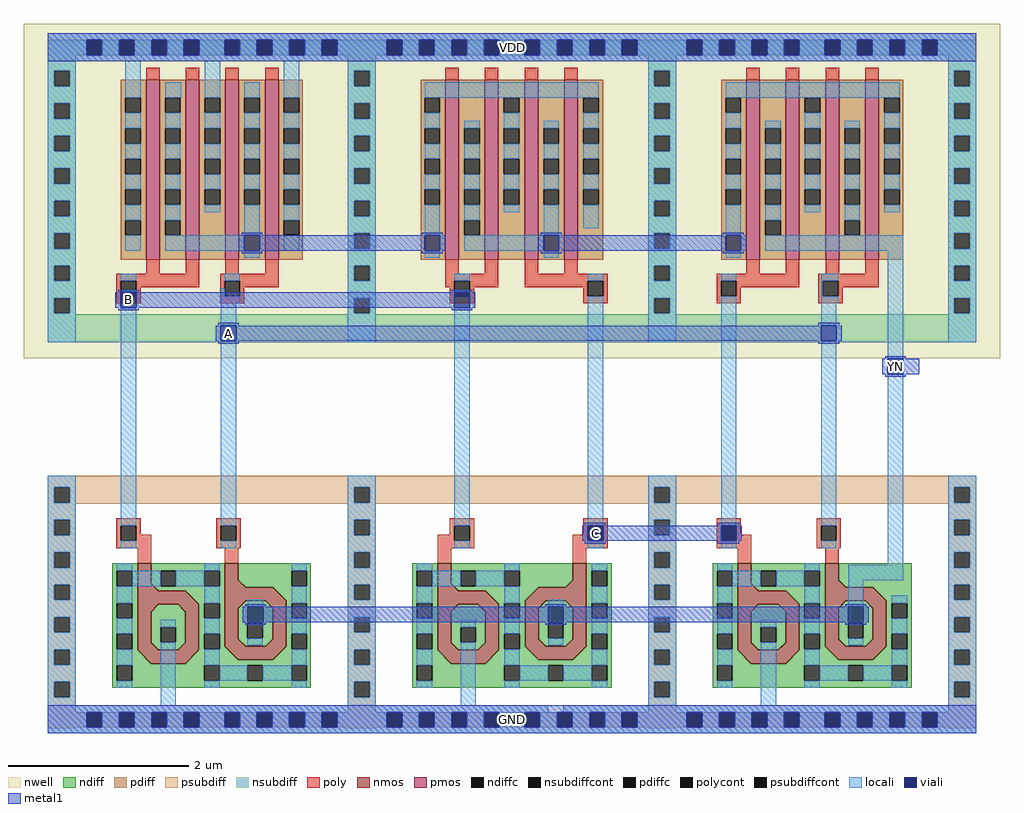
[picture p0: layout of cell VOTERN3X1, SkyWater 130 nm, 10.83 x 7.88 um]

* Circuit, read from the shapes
.subckt VOTERN3X1 YN A B C VDD GND
XM1 n1 B GND GND sky130_fd_pr__nfet_01v8 w=2.6 l=0.1494
XM2 n1 A YN GND sky130_fd_pr__nfet_01v8 w=2.56 l=0.1464
XM3 n2 B GND GND sky130_fd_pr__nfet_01v8 w=2.6 l=0.1478
XM4 n2 C YN GND sky130_fd_pr__nfet_01v8 w=2.56 l=0.145
XM5 n3 C GND GND sky130_fd_pr__nfet_01v8 w=2.6 l=0.149
XM6 n3 A YN GND sky130_fd_pr__nfet_01v8 w=2.56 l=0.1461
XM7 n4 B VDD VDD sky130_fd_pr__pfet_01v8 w=2 l=0.15 m=2
XM8 n4 A VDD VDD sky130_fd_pr__pfet_01v8 w=2 l=0.15 m=2
XM9 n5 B n4 VDD sky130_fd_pr__pfet_01v8 w=2 l=0.15 m=2
XM10 n5 C n4 VDD sky130_fd_pr__pfet_01v8 w=2 l=0.15 m=2
XM11 YN C n5 VDD sky130_fd_pr__pfet_01v8 w=2 l=0.15 m=2
XM12 YN A n5 VDD sky130_fd_pr__pfet_01v8 w=2 l=0.15 m=2
.ends

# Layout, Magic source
magic
tech sky130A
magscale 1 2
<< nwell >>
rect -84 832 2082 1575
<< nmos >>
rect 168 316 198 377
tri 198 316 214 332 sw
rect 362 324 392 377
tri 392 324 408 340 sw
rect 168 286 274 316
tri 274 286 304 316 sw
rect 362 294 468 324
tri 468 294 498 324 sw
rect 168 185 198 286
tri 198 270 214 286 nw
tri 258 270 274 286 ne
tri 198 185 214 201 sw
tri 258 185 274 201 se
rect 274 185 304 286
rect 362 193 392 294
tri 392 278 408 294 nw
tri 452 278 468 294 ne
tri 392 193 408 209 sw
tri 452 193 468 209 se
rect 468 193 498 294
tri 168 155 198 185 ne
rect 198 155 274 185
tri 274 155 304 185 nw
tri 362 163 392 193 ne
rect 392 163 468 193
tri 468 163 498 193 nw
rect 834 316 864 377
tri 864 316 880 332 sw
tri 1118 324 1134 340 se
rect 1134 324 1164 377
rect 834 286 940 316
tri 940 286 970 316 sw
tri 1028 294 1058 324 se
rect 1058 294 1164 324
rect 834 185 864 286
tri 864 270 880 286 nw
tri 924 270 940 286 ne
tri 864 185 880 201 sw
tri 924 185 940 201 se
rect 940 185 970 286
rect 1028 193 1058 294
tri 1058 278 1074 294 nw
tri 1118 278 1134 294 ne
tri 1058 193 1074 209 sw
tri 1118 193 1134 209 se
rect 1134 193 1164 294
tri 834 155 864 185 ne
rect 864 155 940 185
tri 940 155 970 185 nw
tri 1028 163 1058 193 ne
rect 1058 163 1134 193
tri 1134 163 1164 193 nw
rect 1500 316 1530 377
tri 1530 316 1546 332 sw
rect 1694 324 1724 377
tri 1724 324 1740 340 sw
rect 1500 286 1606 316
tri 1606 286 1636 316 sw
rect 1694 294 1800 324
tri 1800 294 1830 324 sw
rect 1500 185 1530 286
tri 1530 270 1546 286 nw
tri 1590 270 1606 286 ne
tri 1530 185 1546 201 sw
tri 1590 185 1606 201 se
rect 1606 185 1636 286
rect 1694 279 1725 294
tri 1725 279 1740 294 nw
tri 1784 279 1799 294 ne
rect 1799 279 1830 294
rect 1694 193 1724 279
tri 1724 193 1740 209 sw
tri 1784 193 1800 209 se
rect 1800 193 1830 279
tri 1500 155 1530 185 ne
rect 1530 155 1606 185
tri 1606 155 1636 185 nw
tri 1694 163 1724 193 ne
rect 1724 163 1800 193
tri 1800 163 1830 193 nw
<< pmos >>
rect 187 1051 217 1451
rect 275 1051 305 1451
rect 363 1051 393 1451
rect 451 1051 481 1451
rect 851 1051 881 1451
rect 939 1051 969 1451
rect 1027 1051 1057 1451
rect 1115 1051 1145 1451
rect 1519 1051 1549 1451
rect 1607 1051 1637 1451
rect 1695 1051 1725 1451
rect 1783 1051 1813 1451
<< ndiff >>
rect 112 361 168 377
rect 112 327 122 361
rect 156 327 168 361
rect 112 289 168 327
rect 198 361 362 377
rect 198 332 219 361
tri 198 316 214 332 ne
rect 214 327 219 332
rect 253 327 316 361
rect 350 327 362 361
rect 214 316 362 327
rect 392 361 552 377
rect 392 340 510 361
tri 392 324 408 340 ne
rect 408 327 510 340
rect 544 327 552 361
rect 408 324 552 327
rect 112 255 122 289
rect 156 255 168 289
tri 274 286 304 316 ne
rect 304 289 362 316
tri 468 294 498 324 ne
rect 112 221 168 255
rect 112 187 122 221
rect 156 187 168 221
rect 112 155 168 187
tri 198 270 214 286 se
rect 214 270 258 286
tri 258 270 274 286 sw
rect 198 236 274 270
rect 198 202 219 236
rect 253 202 274 236
rect 198 201 274 202
tri 198 185 214 201 ne
rect 214 185 258 201
tri 258 185 274 201 nw
rect 304 255 316 289
rect 350 255 362 289
rect 304 221 362 255
rect 304 187 316 221
rect 350 187 362 221
tri 392 278 408 294 se
rect 408 278 452 294
tri 452 278 468 294 sw
rect 392 245 468 278
rect 392 211 412 245
rect 446 211 468 245
rect 392 209 468 211
tri 392 193 408 209 ne
rect 408 193 452 209
tri 452 193 468 209 nw
rect 498 289 552 324
rect 498 255 510 289
rect 544 255 552 289
rect 498 221 552 255
tri 168 155 198 185 sw
tri 274 155 304 185 se
rect 304 163 362 187
tri 362 163 392 193 sw
tri 468 163 498 193 se
rect 498 187 510 221
rect 544 187 552 221
rect 498 163 552 187
rect 304 155 552 163
rect 112 151 552 155
rect 112 117 122 151
rect 156 117 316 151
rect 350 117 412 151
rect 446 117 510 151
rect 544 117 552 151
rect 112 101 552 117
rect 778 361 834 377
rect 778 327 788 361
rect 822 327 834 361
rect 778 289 834 327
rect 864 361 1134 377
rect 864 332 885 361
tri 864 316 880 332 ne
rect 880 327 885 332
rect 919 327 982 361
rect 1016 340 1134 361
rect 1016 327 1118 340
rect 880 324 1118 327
tri 1118 324 1134 340 nw
rect 1164 361 1220 377
rect 1164 327 1176 361
rect 1210 327 1220 361
rect 880 316 1028 324
rect 778 255 788 289
rect 822 255 834 289
tri 940 286 970 316 ne
rect 970 289 1028 316
tri 1028 294 1058 324 nw
rect 778 221 834 255
rect 778 187 788 221
rect 822 187 834 221
rect 778 155 834 187
tri 864 270 880 286 se
rect 880 270 924 286
tri 924 270 940 286 sw
rect 864 236 940 270
rect 864 202 885 236
rect 919 202 940 236
rect 864 201 940 202
tri 864 185 880 201 ne
rect 880 185 924 201
tri 924 185 940 201 nw
rect 970 255 982 289
rect 1016 255 1028 289
rect 970 221 1028 255
rect 970 187 982 221
rect 1016 187 1028 221
tri 1058 278 1074 294 se
rect 1074 278 1118 294
tri 1118 278 1134 294 sw
rect 1058 245 1134 278
rect 1058 211 1079 245
rect 1113 211 1134 245
rect 1058 209 1134 211
tri 1058 193 1074 209 ne
rect 1074 193 1118 209
tri 1118 193 1134 209 nw
rect 1164 289 1220 327
rect 1164 255 1176 289
rect 1210 255 1220 289
rect 1164 221 1220 255
tri 834 155 864 185 sw
tri 940 155 970 185 se
rect 970 163 1028 187
tri 1028 163 1058 193 sw
tri 1134 163 1164 193 se
rect 1164 187 1176 221
rect 1210 187 1220 221
rect 1164 163 1220 187
rect 970 155 1220 163
rect 778 151 1220 155
rect 778 117 788 151
rect 822 117 982 151
rect 1016 117 1079 151
rect 1113 117 1176 151
rect 1210 117 1220 151
rect 778 101 1220 117
rect 1444 361 1500 377
rect 1444 327 1454 361
rect 1488 327 1500 361
rect 1444 289 1500 327
rect 1530 361 1694 377
rect 1530 332 1551 361
tri 1530 316 1546 332 ne
rect 1546 327 1551 332
rect 1585 327 1648 361
rect 1682 327 1694 361
rect 1546 316 1694 327
rect 1724 340 1886 377
tri 1724 324 1740 340 ne
rect 1740 324 1886 340
rect 1444 255 1454 289
rect 1488 255 1500 289
tri 1606 286 1636 316 ne
rect 1636 289 1694 316
tri 1800 294 1830 324 ne
rect 1444 221 1500 255
rect 1444 187 1454 221
rect 1488 187 1500 221
rect 1444 155 1500 187
tri 1530 270 1546 286 se
rect 1546 270 1590 286
tri 1590 270 1606 286 sw
rect 1530 236 1606 270
rect 1530 202 1551 236
rect 1585 202 1606 236
rect 1530 201 1606 202
tri 1530 185 1546 201 ne
rect 1546 185 1590 201
tri 1590 185 1606 201 nw
rect 1636 255 1648 289
rect 1682 255 1694 289
tri 1725 279 1740 294 se
rect 1740 279 1784 294
tri 1784 279 1799 294 sw
rect 1830 289 1886 324
rect 1636 221 1694 255
rect 1636 187 1648 221
rect 1682 187 1694 221
rect 1724 245 1800 279
rect 1724 211 1745 245
rect 1779 211 1800 245
rect 1724 209 1800 211
tri 1724 193 1740 209 ne
rect 1740 193 1784 209
tri 1784 193 1800 209 nw
rect 1830 255 1842 289
rect 1876 255 1886 289
rect 1830 221 1886 255
tri 1500 155 1530 185 sw
tri 1606 155 1636 185 se
rect 1636 163 1694 187
tri 1694 163 1724 193 sw
tri 1800 163 1830 193 se
rect 1830 187 1842 221
rect 1876 187 1886 221
rect 1830 163 1886 187
rect 1636 155 1886 163
rect 1444 151 1886 155
rect 1444 117 1454 151
rect 1488 117 1648 151
rect 1682 117 1745 151
rect 1779 117 1842 151
rect 1876 117 1886 151
rect 1444 101 1886 117
<< pdiff >>
rect 131 1411 187 1451
rect 131 1377 141 1411
rect 175 1377 187 1411
rect 131 1343 187 1377
rect 131 1309 141 1343
rect 175 1309 187 1343
rect 131 1275 187 1309
rect 131 1241 141 1275
rect 175 1241 187 1275
rect 131 1207 187 1241
rect 131 1173 141 1207
rect 175 1173 187 1207
rect 131 1139 187 1173
rect 131 1105 141 1139
rect 175 1105 187 1139
rect 131 1051 187 1105
rect 217 1411 275 1451
rect 217 1377 229 1411
rect 263 1377 275 1411
rect 217 1343 275 1377
rect 217 1309 229 1343
rect 263 1309 275 1343
rect 217 1275 275 1309
rect 217 1241 229 1275
rect 263 1241 275 1275
rect 217 1207 275 1241
rect 217 1173 229 1207
rect 263 1173 275 1207
rect 217 1139 275 1173
rect 217 1105 229 1139
rect 263 1105 275 1139
rect 217 1051 275 1105
rect 305 1411 363 1451
rect 305 1377 317 1411
rect 351 1377 363 1411
rect 305 1343 363 1377
rect 305 1309 317 1343
rect 351 1309 363 1343
rect 305 1275 363 1309
rect 305 1241 317 1275
rect 351 1241 363 1275
rect 305 1207 363 1241
rect 305 1173 317 1207
rect 351 1173 363 1207
rect 305 1051 363 1173
rect 393 1411 451 1451
rect 393 1377 405 1411
rect 439 1377 451 1411
rect 393 1343 451 1377
rect 393 1309 405 1343
rect 439 1309 451 1343
rect 393 1275 451 1309
rect 393 1241 405 1275
rect 439 1241 451 1275
rect 393 1207 451 1241
rect 393 1173 405 1207
rect 439 1173 451 1207
rect 393 1051 451 1173
rect 481 1411 535 1451
rect 481 1377 493 1411
rect 527 1377 535 1411
rect 481 1343 535 1377
rect 481 1309 493 1343
rect 527 1309 535 1343
rect 481 1275 535 1309
rect 481 1241 493 1275
rect 527 1241 535 1275
rect 481 1207 535 1241
rect 481 1173 493 1207
rect 527 1173 535 1207
rect 481 1139 535 1173
rect 481 1105 493 1139
rect 527 1105 535 1139
rect 481 1051 535 1105
rect 797 1411 851 1451
rect 797 1377 805 1411
rect 839 1377 851 1411
rect 797 1343 851 1377
rect 797 1309 805 1343
rect 839 1309 851 1343
rect 797 1275 851 1309
rect 797 1241 805 1275
rect 839 1241 851 1275
rect 797 1207 851 1241
rect 797 1173 805 1207
rect 839 1173 851 1207
rect 797 1051 851 1173
rect 881 1343 939 1451
rect 881 1309 893 1343
rect 927 1309 939 1343
rect 881 1275 939 1309
rect 881 1241 893 1275
rect 927 1241 939 1275
rect 881 1207 939 1241
rect 881 1173 893 1207
rect 927 1173 939 1207
rect 881 1139 939 1173
rect 881 1105 893 1139
rect 927 1105 939 1139
rect 881 1051 939 1105
rect 969 1411 1027 1451
rect 969 1377 981 1411
rect 1015 1377 1027 1411
rect 969 1343 1027 1377
rect 969 1309 981 1343
rect 1015 1309 1027 1343
rect 969 1275 1027 1309
rect 969 1241 981 1275
rect 1015 1241 1027 1275
rect 969 1207 1027 1241
rect 969 1173 981 1207
rect 1015 1173 1027 1207
rect 969 1051 1027 1173
rect 1057 1343 1115 1451
rect 1057 1309 1069 1343
rect 1103 1309 1115 1343
rect 1057 1275 1115 1309
rect 1057 1241 1069 1275
rect 1103 1241 1115 1275
rect 1057 1207 1115 1241
rect 1057 1173 1069 1207
rect 1103 1173 1115 1207
rect 1057 1051 1115 1173
rect 1145 1411 1201 1451
rect 1145 1377 1157 1411
rect 1191 1377 1201 1411
rect 1145 1343 1201 1377
rect 1145 1309 1157 1343
rect 1191 1309 1201 1343
rect 1145 1275 1201 1309
rect 1145 1241 1157 1275
rect 1191 1241 1201 1275
rect 1145 1207 1201 1241
rect 1145 1173 1157 1207
rect 1191 1173 1201 1207
rect 1145 1051 1201 1173
rect 1463 1411 1519 1451
rect 1463 1377 1473 1411
rect 1507 1377 1519 1411
rect 1463 1343 1519 1377
rect 1463 1309 1473 1343
rect 1507 1309 1519 1343
rect 1463 1275 1519 1309
rect 1463 1241 1473 1275
rect 1507 1241 1519 1275
rect 1463 1207 1519 1241
rect 1463 1173 1473 1207
rect 1507 1173 1519 1207
rect 1463 1051 1519 1173
rect 1549 1343 1607 1451
rect 1549 1309 1561 1343
rect 1595 1309 1607 1343
rect 1549 1275 1607 1309
rect 1549 1241 1561 1275
rect 1595 1241 1607 1275
rect 1549 1207 1607 1241
rect 1549 1173 1561 1207
rect 1595 1173 1607 1207
rect 1549 1139 1607 1173
rect 1549 1105 1561 1139
rect 1595 1105 1607 1139
rect 1549 1051 1607 1105
rect 1637 1411 1695 1451
rect 1637 1377 1649 1411
rect 1683 1377 1695 1411
rect 1637 1343 1695 1377
rect 1637 1309 1649 1343
rect 1683 1309 1695 1343
rect 1637 1275 1695 1309
rect 1637 1241 1649 1275
rect 1683 1241 1695 1275
rect 1637 1207 1695 1241
rect 1637 1173 1649 1207
rect 1683 1173 1695 1207
rect 1637 1051 1695 1173
rect 1725 1343 1783 1451
rect 1725 1309 1737 1343
rect 1771 1309 1783 1343
rect 1725 1275 1783 1309
rect 1725 1241 1737 1275
rect 1771 1241 1783 1275
rect 1725 1207 1783 1241
rect 1725 1173 1737 1207
rect 1771 1173 1783 1207
rect 1725 1139 1783 1173
rect 1725 1105 1737 1139
rect 1771 1105 1783 1139
rect 1725 1051 1783 1105
rect 1813 1411 1867 1451
rect 1813 1377 1825 1411
rect 1859 1377 1867 1411
rect 1813 1343 1867 1377
rect 1813 1309 1825 1343
rect 1859 1309 1867 1343
rect 1813 1275 1867 1309
rect 1813 1241 1825 1275
rect 1859 1241 1867 1275
rect 1813 1207 1867 1241
rect 1813 1173 1825 1207
rect 1859 1173 1867 1207
rect 1813 1051 1867 1173
<< ndiffc >>
rect 122 327 156 361
rect 219 327 253 361
rect 316 327 350 361
rect 510 327 544 361
rect 122 255 156 289
rect 122 187 156 221
rect 219 202 253 236
rect 316 255 350 289
rect 316 187 350 221
rect 412 211 446 245
rect 510 255 544 289
rect 510 187 544 221
rect 122 117 156 151
rect 316 117 350 151
rect 412 117 446 151
rect 510 117 544 151
rect 788 327 822 361
rect 885 327 919 361
rect 982 327 1016 361
rect 1176 327 1210 361
rect 788 255 822 289
rect 788 187 822 221
rect 885 202 919 236
rect 982 255 1016 289
rect 982 187 1016 221
rect 1079 211 1113 245
rect 1176 255 1210 289
rect 1176 187 1210 221
rect 788 117 822 151
rect 982 117 1016 151
rect 1079 117 1113 151
rect 1176 117 1210 151
rect 1454 327 1488 361
rect 1551 327 1585 361
rect 1648 327 1682 361
rect 1454 255 1488 289
rect 1454 187 1488 221
rect 1551 202 1585 236
rect 1648 255 1682 289
rect 1648 187 1682 221
rect 1745 211 1779 245
rect 1842 255 1876 289
rect 1842 187 1876 221
rect 1454 117 1488 151
rect 1648 117 1682 151
rect 1745 117 1779 151
rect 1842 117 1876 151
<< pdiffc >>
rect 141 1377 175 1411
rect 141 1309 175 1343
rect 141 1241 175 1275
rect 141 1173 175 1207
rect 141 1105 175 1139
rect 229 1377 263 1411
rect 229 1309 263 1343
rect 229 1241 263 1275
rect 229 1173 263 1207
rect 229 1105 263 1139
rect 317 1377 351 1411
rect 317 1309 351 1343
rect 317 1241 351 1275
rect 317 1173 351 1207
rect 405 1377 439 1411
rect 405 1309 439 1343
rect 405 1241 439 1275
rect 405 1173 439 1207
rect 493 1377 527 1411
rect 493 1309 527 1343
rect 493 1241 527 1275
rect 493 1173 527 1207
rect 493 1105 527 1139
rect 805 1377 839 1411
rect 805 1309 839 1343
rect 805 1241 839 1275
rect 805 1173 839 1207
rect 893 1309 927 1343
rect 893 1241 927 1275
rect 893 1173 927 1207
rect 893 1105 927 1139
rect 981 1377 1015 1411
rect 981 1309 1015 1343
rect 981 1241 1015 1275
rect 981 1173 1015 1207
rect 1069 1309 1103 1343
rect 1069 1241 1103 1275
rect 1069 1173 1103 1207
rect 1157 1377 1191 1411
rect 1157 1309 1191 1343
rect 1157 1241 1191 1275
rect 1157 1173 1191 1207
rect 1473 1377 1507 1411
rect 1473 1309 1507 1343
rect 1473 1241 1507 1275
rect 1473 1173 1507 1207
rect 1561 1309 1595 1343
rect 1561 1241 1595 1275
rect 1561 1173 1595 1207
rect 1561 1105 1595 1139
rect 1649 1377 1683 1411
rect 1649 1309 1683 1343
rect 1649 1241 1683 1275
rect 1649 1173 1683 1207
rect 1737 1309 1771 1343
rect 1737 1241 1771 1275
rect 1737 1173 1771 1207
rect 1737 1105 1771 1139
rect 1825 1377 1859 1411
rect 1825 1309 1859 1343
rect 1825 1241 1859 1275
rect 1825 1173 1859 1207
<< psubdiff >>
rect -31 546 2029 572
rect -31 512 -17 546
rect 17 512 649 546
rect 683 512 1315 546
rect 1349 512 1981 546
rect 2015 512 2029 546
rect -31 510 2029 512
rect -31 474 31 510
rect -31 440 -17 474
rect 17 440 31 474
rect -31 402 31 440
rect 635 474 697 510
rect 635 440 649 474
rect 683 440 697 474
rect -31 368 -17 402
rect 17 368 31 402
rect 635 402 697 440
rect -31 330 31 368
rect -31 296 -17 330
rect 17 296 31 330
rect -31 258 31 296
rect -31 224 -17 258
rect 17 224 31 258
rect -31 186 31 224
rect -31 152 -17 186
rect 17 152 31 186
rect -31 114 31 152
rect -31 80 -17 114
rect 17 80 31 114
rect 635 368 649 402
rect 683 368 697 402
rect 1301 474 1363 510
rect 1301 440 1315 474
rect 1349 440 1363 474
rect 1301 402 1363 440
rect 1967 474 2029 510
rect 1967 440 1981 474
rect 2015 440 2029 474
rect 635 330 697 368
rect 635 296 649 330
rect 683 296 697 330
rect 635 258 697 296
rect 635 224 649 258
rect 683 224 697 258
rect 635 186 697 224
rect 635 152 649 186
rect 683 152 697 186
rect 635 114 697 152
rect -31 47 31 80
rect 635 80 649 114
rect 683 80 697 114
rect 1301 368 1315 402
rect 1349 368 1363 402
rect 1967 402 2029 440
rect 1301 330 1363 368
rect 1301 296 1315 330
rect 1349 296 1363 330
rect 1301 258 1363 296
rect 1301 224 1315 258
rect 1349 224 1363 258
rect 1301 186 1363 224
rect 1301 152 1315 186
rect 1349 152 1363 186
rect 1301 114 1363 152
rect 635 47 697 80
rect 1301 80 1315 114
rect 1349 80 1363 114
rect 1967 368 1981 402
rect 2015 368 2029 402
rect 1967 330 2029 368
rect 1967 296 1981 330
rect 2015 296 2029 330
rect 1967 258 2029 296
rect 1967 224 1981 258
rect 2015 224 2029 258
rect 1967 186 2029 224
rect 1967 152 1981 186
rect 2015 152 2029 186
rect 1967 114 2029 152
rect 1301 47 1363 80
rect 1967 80 1981 114
rect 2015 80 2029 114
rect 1967 47 2029 80
rect -31 13 55 47
rect 89 13 127 47
rect 161 13 199 47
rect 233 13 271 47
rect 305 13 361 47
rect 395 13 433 47
rect 467 13 505 47
rect 539 13 577 47
rect 611 13 721 47
rect 755 13 793 47
rect 827 13 865 47
rect 899 13 937 47
rect 971 13 1027 47
rect 1061 13 1099 47
rect 1133 13 1171 47
rect 1205 13 1243 47
rect 1277 13 1387 47
rect 1421 13 1459 47
rect 1493 13 1531 47
rect 1565 13 1603 47
rect 1637 13 1693 47
rect 1727 13 1765 47
rect 1799 13 1837 47
rect 1871 13 1909 47
rect 1943 13 2029 47
rect -31 11 31 13
rect 635 11 697 13
rect 1301 11 1363 13
rect 1967 11 2029 13
<< nsubdiff >>
rect -31 1505 55 1539
rect 89 1505 127 1539
rect 161 1505 199 1539
rect 233 1505 271 1539
rect 305 1505 361 1539
rect 395 1505 433 1539
rect 467 1505 505 1539
rect 539 1505 577 1539
rect 611 1505 721 1539
rect 755 1505 793 1539
rect 827 1505 865 1539
rect 899 1505 937 1539
rect 971 1505 1027 1539
rect 1061 1505 1099 1539
rect 1133 1505 1171 1539
rect 1205 1505 1243 1539
rect 1277 1505 1387 1539
rect 1421 1505 1459 1539
rect 1493 1505 1531 1539
rect 1565 1505 1603 1539
rect 1637 1505 1693 1539
rect 1727 1505 1765 1539
rect 1799 1505 1837 1539
rect 1871 1505 1909 1539
rect 1943 1505 2029 1539
rect -31 1470 31 1505
rect -31 1436 -17 1470
rect 17 1436 31 1470
rect 635 1470 697 1505
rect -31 1398 31 1436
rect -31 1364 -17 1398
rect 17 1364 31 1398
rect -31 1326 31 1364
rect -31 1292 -17 1326
rect 17 1292 31 1326
rect -31 1254 31 1292
rect -31 1220 -17 1254
rect 17 1220 31 1254
rect -31 1182 31 1220
rect -31 1148 -17 1182
rect 17 1148 31 1182
rect -31 1110 31 1148
rect -31 1076 -17 1110
rect 17 1076 31 1110
rect -31 1038 31 1076
rect 635 1436 649 1470
rect 683 1436 697 1470
rect 1301 1470 1363 1505
rect 635 1398 697 1436
rect 635 1364 649 1398
rect 683 1364 697 1398
rect 635 1326 697 1364
rect 635 1292 649 1326
rect 683 1292 697 1326
rect 635 1254 697 1292
rect 635 1220 649 1254
rect 683 1220 697 1254
rect 635 1182 697 1220
rect 635 1148 649 1182
rect 683 1148 697 1182
rect 635 1110 697 1148
rect 635 1076 649 1110
rect 683 1076 697 1110
rect -31 1004 -17 1038
rect 17 1004 31 1038
rect -31 966 31 1004
rect -31 932 -17 966
rect 17 932 31 966
rect 635 1038 697 1076
rect 1301 1436 1315 1470
rect 1349 1436 1363 1470
rect 1967 1470 2029 1505
rect 1301 1398 1363 1436
rect 1301 1364 1315 1398
rect 1349 1364 1363 1398
rect 1301 1326 1363 1364
rect 1301 1292 1315 1326
rect 1349 1292 1363 1326
rect 1301 1254 1363 1292
rect 1301 1220 1315 1254
rect 1349 1220 1363 1254
rect 1301 1182 1363 1220
rect 1301 1148 1315 1182
rect 1349 1148 1363 1182
rect 1301 1110 1363 1148
rect 1301 1076 1315 1110
rect 1349 1076 1363 1110
rect 635 1004 649 1038
rect 683 1004 697 1038
rect 635 966 697 1004
rect -31 930 31 932
rect 635 932 649 966
rect 683 932 697 966
rect 1301 1038 1363 1076
rect 1967 1436 1981 1470
rect 2015 1436 2029 1470
rect 1967 1398 2029 1436
rect 1967 1364 1981 1398
rect 2015 1364 2029 1398
rect 1967 1326 2029 1364
rect 1967 1292 1981 1326
rect 2015 1292 2029 1326
rect 1967 1254 2029 1292
rect 1967 1220 1981 1254
rect 2015 1220 2029 1254
rect 1967 1182 2029 1220
rect 1967 1148 1981 1182
rect 2015 1148 2029 1182
rect 1967 1110 2029 1148
rect 1967 1076 1981 1110
rect 2015 1076 2029 1110
rect 1301 1004 1315 1038
rect 1349 1004 1363 1038
rect 1301 966 1363 1004
rect 635 930 697 932
rect 1301 932 1315 966
rect 1349 932 1363 966
rect 1967 1038 2029 1076
rect 1967 1004 1981 1038
rect 2015 1004 2029 1038
rect 1967 966 2029 1004
rect 1301 930 1363 932
rect 1967 932 1981 966
rect 2015 932 2029 966
rect 1967 930 2029 932
rect -31 868 2029 930
<< psubdiffcont >>
rect -17 512 17 546
rect 649 512 683 546
rect 1315 512 1349 546
rect 1981 512 2015 546
rect -17 440 17 474
rect 649 440 683 474
rect -17 368 17 402
rect -17 296 17 330
rect -17 224 17 258
rect -17 152 17 186
rect -17 80 17 114
rect 649 368 683 402
rect 1315 440 1349 474
rect 1981 440 2015 474
rect 649 296 683 330
rect 649 224 683 258
rect 649 152 683 186
rect 649 80 683 114
rect 1315 368 1349 402
rect 1315 296 1349 330
rect 1315 224 1349 258
rect 1315 152 1349 186
rect 1315 80 1349 114
rect 1981 368 2015 402
rect 1981 296 2015 330
rect 1981 224 2015 258
rect 1981 152 2015 186
rect 1981 80 2015 114
rect 55 13 89 47
rect 127 13 161 47
rect 199 13 233 47
rect 271 13 305 47
rect 361 13 395 47
rect 433 13 467 47
rect 505 13 539 47
rect 577 13 611 47
rect 721 13 755 47
rect 793 13 827 47
rect 865 13 899 47
rect 937 13 971 47
rect 1027 13 1061 47
rect 1099 13 1133 47
rect 1171 13 1205 47
rect 1243 13 1277 47
rect 1387 13 1421 47
rect 1459 13 1493 47
rect 1531 13 1565 47
rect 1603 13 1637 47
rect 1693 13 1727 47
rect 1765 13 1799 47
rect 1837 13 1871 47
rect 1909 13 1943 47
<< nsubdiffcont >>
rect 55 1505 89 1539
rect 127 1505 161 1539
rect 199 1505 233 1539
rect 271 1505 305 1539
rect 361 1505 395 1539
rect 433 1505 467 1539
rect 505 1505 539 1539
rect 577 1505 611 1539
rect 721 1505 755 1539
rect 793 1505 827 1539
rect 865 1505 899 1539
rect 937 1505 971 1539
rect 1027 1505 1061 1539
rect 1099 1505 1133 1539
rect 1171 1505 1205 1539
rect 1243 1505 1277 1539
rect 1387 1505 1421 1539
rect 1459 1505 1493 1539
rect 1531 1505 1565 1539
rect 1603 1505 1637 1539
rect 1693 1505 1727 1539
rect 1765 1505 1799 1539
rect 1837 1505 1871 1539
rect 1909 1505 1943 1539
rect -17 1436 17 1470
rect -17 1364 17 1398
rect -17 1292 17 1326
rect -17 1220 17 1254
rect -17 1148 17 1182
rect -17 1076 17 1110
rect 649 1436 683 1470
rect 649 1364 683 1398
rect 649 1292 683 1326
rect 649 1220 683 1254
rect 649 1148 683 1182
rect 649 1076 683 1110
rect -17 1004 17 1038
rect -17 932 17 966
rect 1315 1436 1349 1470
rect 1315 1364 1349 1398
rect 1315 1292 1349 1326
rect 1315 1220 1349 1254
rect 1315 1148 1349 1182
rect 1315 1076 1349 1110
rect 649 1004 683 1038
rect 649 932 683 966
rect 1981 1436 2015 1470
rect 1981 1364 2015 1398
rect 1981 1292 2015 1326
rect 1981 1220 2015 1254
rect 1981 1148 2015 1182
rect 1981 1076 2015 1110
rect 1315 1004 1349 1038
rect 1315 932 1349 966
rect 1981 1004 2015 1038
rect 1981 932 2015 966
<< poly >>
rect 187 1451 217 1477
rect 275 1451 305 1477
rect 363 1451 393 1477
rect 451 1451 481 1477
rect 851 1451 881 1477
rect 939 1451 969 1477
rect 1027 1451 1057 1477
rect 1115 1451 1145 1477
rect 187 1020 217 1051
rect 275 1020 305 1051
rect 363 1020 393 1051
rect 451 1020 481 1051
rect 121 1004 305 1020
rect 121 970 131 1004
rect 165 990 305 1004
rect 351 1004 481 1020
rect 165 970 175 990
rect 121 954 175 970
rect 351 970 361 1004
rect 395 990 481 1004
rect 1519 1451 1549 1477
rect 1607 1451 1637 1477
rect 1695 1451 1725 1477
rect 1783 1451 1813 1477
rect 395 970 405 990
rect 351 954 405 970
rect 851 1020 881 1051
rect 939 1020 969 1051
rect 851 1004 969 1020
rect 851 990 871 1004
rect 861 970 871 990
rect 905 990 969 1004
rect 1027 1020 1057 1051
rect 1115 1020 1145 1051
rect 1027 1004 1211 1020
rect 1027 990 1167 1004
rect 905 970 915 990
rect 861 954 915 970
rect 1157 970 1167 990
rect 1201 970 1211 1004
rect 1157 954 1211 970
rect 1519 1020 1549 1051
rect 1607 1020 1637 1051
rect 1695 1020 1725 1051
rect 1783 1020 1813 1051
rect 1453 1004 1637 1020
rect 1453 970 1463 1004
rect 1497 990 1637 1004
rect 1679 1004 1813 1020
rect 1497 970 1507 990
rect 1453 954 1507 970
rect 1679 970 1689 1004
rect 1723 990 1813 1004
rect 1723 970 1733 990
rect 1679 954 1733 970
rect 121 461 175 477
rect 121 427 131 461
rect 165 441 175 461
rect 343 461 397 477
rect 165 427 198 441
rect 121 411 198 427
rect 343 427 353 461
rect 387 427 397 461
rect 343 411 397 427
rect 861 461 915 477
rect 861 441 871 461
rect 168 377 198 411
rect 362 377 392 411
rect 834 427 871 441
rect 905 427 915 461
rect 1157 461 1211 477
rect 1157 441 1167 461
rect 834 411 915 427
rect 1134 427 1167 441
rect 1201 427 1211 461
rect 1134 411 1211 427
rect 834 377 864 411
rect 1134 377 1164 411
rect 1453 461 1507 477
rect 1453 427 1463 461
rect 1497 441 1507 461
rect 1675 461 1729 477
rect 1497 427 1530 441
rect 1453 411 1530 427
rect 1675 427 1685 461
rect 1719 427 1729 461
rect 1675 411 1729 427
rect 1500 377 1530 411
rect 1694 377 1724 411
<< polycont >>
rect 131 970 165 1004
rect 361 970 395 1004
rect 871 970 905 1004
rect 1167 970 1201 1004
rect 1463 970 1497 1004
rect 1689 970 1723 1004
rect 131 427 165 461
rect 353 427 387 461
rect 871 427 905 461
rect 1167 427 1201 461
rect 1463 427 1497 461
rect 1685 427 1719 461
<< locali >>
rect -31 1539 2029 1554
rect -31 1505 55 1539
rect 89 1505 127 1539
rect 161 1505 199 1539
rect 233 1505 271 1539
rect 305 1505 361 1539
rect 395 1505 433 1539
rect 467 1505 505 1539
rect 539 1505 577 1539
rect 611 1505 721 1539
rect 755 1505 793 1539
rect 827 1505 865 1539
rect 899 1505 937 1539
rect 971 1505 1027 1539
rect 1061 1505 1099 1539
rect 1133 1505 1171 1539
rect 1205 1505 1243 1539
rect 1277 1505 1387 1539
rect 1421 1505 1459 1539
rect 1493 1505 1531 1539
rect 1565 1505 1603 1539
rect 1637 1505 1693 1539
rect 1727 1505 1765 1539
rect 1799 1505 1837 1539
rect 1871 1505 1909 1539
rect 1943 1505 2029 1539
rect -31 1492 2029 1505
rect -31 1470 31 1492
rect -31 1436 -17 1470
rect 17 1436 31 1470
rect -31 1398 31 1436
rect -31 1364 -17 1398
rect 17 1364 31 1398
rect -31 1326 31 1364
rect -31 1292 -17 1326
rect 17 1292 31 1326
rect -31 1254 31 1292
rect -31 1220 -17 1254
rect 17 1220 31 1254
rect -31 1182 31 1220
rect -31 1148 -17 1182
rect 17 1148 31 1182
rect -31 1110 31 1148
rect -31 1076 -17 1110
rect 17 1076 31 1110
rect -31 1038 31 1076
rect 141 1411 175 1492
rect 141 1343 175 1377
rect 141 1275 175 1309
rect 141 1207 175 1241
rect 141 1139 175 1173
rect 141 1071 175 1105
rect 229 1411 265 1445
rect 317 1411 351 1492
rect 229 1343 263 1377
rect 229 1275 263 1309
rect 229 1207 263 1241
rect 229 1139 263 1173
rect 317 1343 351 1377
rect 317 1275 351 1309
rect 317 1207 351 1241
rect 317 1157 351 1173
rect 405 1411 439 1445
rect 405 1343 439 1377
rect 405 1275 439 1309
rect 405 1207 439 1241
rect 405 1105 439 1173
rect 229 1071 405 1105
rect 493 1411 527 1492
rect 493 1343 527 1377
rect 493 1275 527 1309
rect 493 1207 527 1241
rect 493 1139 527 1173
rect 493 1071 527 1105
rect 635 1470 697 1492
rect 635 1436 649 1470
rect 683 1436 697 1470
rect 1301 1470 1363 1492
rect 635 1398 697 1436
rect 635 1364 649 1398
rect 683 1364 697 1398
rect 635 1326 697 1364
rect 635 1292 649 1326
rect 683 1292 697 1326
rect 635 1254 697 1292
rect 635 1220 649 1254
rect 683 1220 697 1254
rect 635 1182 697 1220
rect 635 1148 649 1182
rect 683 1148 697 1182
rect 635 1110 697 1148
rect 635 1076 649 1110
rect 683 1076 697 1110
rect 405 1055 439 1071
rect -31 1004 -17 1038
rect 17 1004 31 1038
rect 635 1038 697 1076
rect 805 1411 1191 1445
rect 805 1343 839 1377
rect 805 1275 839 1309
rect 805 1207 839 1241
rect 805 1105 839 1173
rect 893 1343 927 1359
rect 893 1275 927 1309
rect 893 1207 927 1241
rect 893 1139 927 1173
rect 981 1343 1015 1377
rect 981 1275 1015 1309
rect 981 1207 1015 1241
rect 981 1157 1015 1173
rect 1069 1343 1103 1359
rect 1069 1275 1103 1309
rect 1069 1207 1103 1241
rect 1069 1105 1103 1173
rect 1157 1343 1191 1377
rect 1157 1275 1191 1309
rect 1157 1207 1191 1241
rect 1157 1121 1191 1173
rect 1301 1436 1315 1470
rect 1349 1436 1363 1470
rect 1967 1470 2029 1492
rect 1301 1398 1363 1436
rect 1301 1364 1315 1398
rect 1349 1364 1363 1398
rect 1301 1326 1363 1364
rect 1301 1292 1315 1326
rect 1349 1292 1363 1326
rect 1301 1254 1363 1292
rect 1301 1220 1315 1254
rect 1349 1220 1363 1254
rect 1301 1182 1363 1220
rect 1301 1148 1315 1182
rect 1349 1148 1363 1182
rect 893 1071 1069 1105
rect 805 1055 839 1071
rect 1069 1055 1103 1071
rect 1301 1110 1363 1148
rect 1301 1076 1315 1110
rect 1349 1076 1363 1110
rect -31 966 31 1004
rect -31 932 -17 966
rect 17 932 31 966
rect -31 868 31 932
rect 131 1004 165 1020
rect 361 1004 395 1020
rect -31 546 31 572
rect -31 512 -17 546
rect 17 512 31 546
rect -31 474 31 512
rect -31 440 -17 474
rect 17 440 31 474
rect -31 402 31 440
rect 131 461 165 945
rect 131 411 165 427
rect 353 970 361 988
rect 353 954 395 970
rect 635 1004 649 1038
rect 683 1004 697 1038
rect 1301 1038 1363 1076
rect 1473 1411 1859 1445
rect 1473 1343 1507 1377
rect 1473 1275 1507 1309
rect 1473 1207 1507 1241
rect 1473 1105 1507 1173
rect 1561 1343 1595 1359
rect 1561 1275 1595 1309
rect 1561 1207 1595 1241
rect 1561 1139 1595 1173
rect 1649 1343 1683 1377
rect 1649 1275 1683 1309
rect 1649 1207 1683 1241
rect 1649 1157 1683 1173
rect 1737 1343 1771 1359
rect 1737 1275 1771 1309
rect 1737 1207 1771 1241
rect 1737 1139 1771 1173
rect 1825 1343 1859 1377
rect 1825 1275 1859 1309
rect 1825 1207 1859 1241
rect 1825 1157 1859 1173
rect 1967 1436 1981 1470
rect 2015 1436 2029 1470
rect 1967 1398 2029 1436
rect 1967 1364 1981 1398
rect 2015 1364 2029 1398
rect 1967 1326 2029 1364
rect 1967 1292 1981 1326
rect 2015 1292 2029 1326
rect 1967 1254 2029 1292
rect 1967 1220 1981 1254
rect 2015 1220 2029 1254
rect 1967 1182 2029 1220
rect 1967 1148 1981 1182
rect 2015 1148 2029 1182
rect 1967 1110 2029 1148
rect 1561 1071 1867 1105
rect 1473 1055 1507 1071
rect 635 966 697 1004
rect 353 905 387 954
rect 353 461 387 871
rect 635 932 649 966
rect 683 932 697 966
rect 635 868 697 932
rect 871 1004 905 1020
rect 353 411 387 427
rect 635 546 697 572
rect 635 512 649 546
rect 683 512 697 546
rect 635 474 697 512
rect 635 440 649 474
rect 683 440 697 474
rect -31 368 -17 402
rect 17 368 31 402
rect 635 402 697 440
rect 871 461 905 945
rect 871 411 905 427
rect 1167 1004 1201 1020
rect 1167 461 1201 970
rect 1301 1004 1315 1038
rect 1349 1004 1363 1038
rect 1301 966 1363 1004
rect 1301 932 1315 966
rect 1349 932 1363 966
rect 1301 868 1363 932
rect 1463 1004 1497 1020
rect 1167 411 1201 427
rect 1301 546 1363 572
rect 1301 512 1315 546
rect 1349 512 1363 546
rect 1301 474 1363 512
rect 1301 440 1315 474
rect 1349 440 1363 474
rect -31 330 31 368
rect -31 296 -17 330
rect 17 296 31 330
rect -31 258 31 296
rect -31 224 -17 258
rect 17 224 31 258
rect -31 186 31 224
rect -31 152 -17 186
rect 17 152 31 186
rect -31 114 31 152
rect -31 80 -17 114
rect 17 80 31 114
rect 122 361 156 377
rect 316 361 350 377
rect 156 327 219 361
rect 253 327 316 361
rect 122 289 156 327
rect 122 221 156 255
rect 316 289 350 327
rect 510 361 544 377
rect 413 281 447 297
rect 122 151 156 187
rect 122 101 156 117
rect 219 236 253 252
rect -31 62 31 80
rect 219 62 253 202
rect 316 221 350 255
rect 412 247 413 262
rect 412 245 447 247
rect 446 231 447 245
rect 510 289 544 327
rect 412 195 446 211
rect 510 221 544 255
rect 316 151 350 187
rect 510 151 544 187
rect 350 117 412 151
rect 446 117 510 151
rect 316 101 350 117
rect 510 101 544 117
rect 635 368 649 402
rect 683 368 697 402
rect 1301 402 1363 440
rect 1463 461 1497 970
rect 1463 411 1497 427
rect 1685 1004 1723 1020
rect 1685 970 1689 1004
rect 1685 954 1723 970
rect 1685 905 1719 954
rect 1685 461 1719 871
rect 1685 411 1719 427
rect 1833 831 1867 1071
rect 1967 1076 1981 1110
rect 2015 1076 2029 1110
rect 1967 1038 2029 1076
rect 1967 1004 1981 1038
rect 2015 1004 2029 1038
rect 1967 966 2029 1004
rect 1967 932 1981 966
rect 2015 932 2029 966
rect 1967 868 2029 932
rect 635 330 697 368
rect 635 296 649 330
rect 683 296 697 330
rect 635 258 697 296
rect 635 224 649 258
rect 683 224 697 258
rect 635 186 697 224
rect 635 152 649 186
rect 683 152 697 186
rect 635 114 697 152
rect 635 80 649 114
rect 683 80 697 114
rect 788 361 822 377
rect 982 361 1016 377
rect 822 327 885 361
rect 919 327 982 361
rect 788 289 822 327
rect 788 221 822 255
rect 982 289 1016 327
rect 1176 361 1210 377
rect 788 151 822 187
rect 788 101 822 117
rect 885 236 919 252
rect 635 62 697 80
rect 885 62 919 202
rect 982 221 1016 255
rect 1079 281 1113 297
rect 1079 245 1113 247
rect 1079 195 1113 211
rect 1176 289 1210 327
rect 1176 221 1210 255
rect 982 151 1016 187
rect 1176 151 1210 187
rect 1016 117 1079 151
rect 1113 117 1176 151
rect 982 101 1016 117
rect 1176 101 1210 117
rect 1301 368 1315 402
rect 1349 368 1363 402
rect 1301 330 1363 368
rect 1301 296 1315 330
rect 1349 296 1363 330
rect 1301 258 1363 296
rect 1301 224 1315 258
rect 1349 224 1363 258
rect 1301 186 1363 224
rect 1301 152 1315 186
rect 1349 152 1363 186
rect 1301 114 1363 152
rect 1301 80 1315 114
rect 1349 80 1363 114
rect 1454 361 1488 377
rect 1648 361 1682 377
rect 1833 374 1867 797
rect 1488 327 1551 361
rect 1585 327 1648 361
rect 1454 289 1488 327
rect 1454 221 1488 255
rect 1648 289 1682 327
rect 1454 151 1488 187
rect 1454 101 1488 117
rect 1551 236 1585 252
rect 1301 62 1363 80
rect 1551 62 1585 202
rect 1648 221 1682 255
rect 1745 340 1867 374
rect 1967 546 2029 572
rect 1967 512 1981 546
rect 2015 512 2029 546
rect 1967 474 2029 512
rect 1967 440 1981 474
rect 2015 440 2029 474
rect 1967 402 2029 440
rect 1967 368 1981 402
rect 2015 368 2029 402
rect 1745 281 1779 340
rect 1967 330 2029 368
rect 1745 245 1779 247
rect 1745 195 1779 211
rect 1842 289 1876 306
rect 1842 221 1876 255
rect 1648 151 1682 187
rect 1842 151 1876 187
rect 1682 117 1745 151
rect 1779 117 1842 151
rect 1648 101 1682 117
rect 1842 101 1876 117
rect 1967 296 1981 330
rect 2015 296 2029 330
rect 1967 258 2029 296
rect 1967 224 1981 258
rect 2015 224 2029 258
rect 1967 186 2029 224
rect 1967 152 1981 186
rect 2015 152 2029 186
rect 1967 114 2029 152
rect 1967 80 1981 114
rect 2015 80 2029 114
rect 1967 62 2029 80
rect -31 47 1079 62
rect 1113 47 2029 62
rect -31 13 55 47
rect 89 13 127 47
rect 161 13 199 47
rect 233 13 271 47
rect 305 13 361 47
rect 395 13 433 47
rect 467 13 505 47
rect 539 13 577 47
rect 611 13 721 47
rect 755 13 793 47
rect 827 13 865 47
rect 899 13 937 47
rect 971 13 1027 47
rect 1061 13 1099 47
rect 1133 13 1171 47
rect 1205 13 1243 47
rect 1277 13 1387 47
rect 1421 13 1459 47
rect 1493 13 1531 47
rect 1565 13 1603 47
rect 1637 13 1693 47
rect 1727 13 1765 47
rect 1799 13 1837 47
rect 1871 13 1909 47
rect 1943 13 2029 47
rect -31 0 2029 13
<< viali >>
rect 55 1505 89 1539
rect 127 1505 161 1539
rect 199 1505 233 1539
rect 271 1505 305 1539
rect 361 1505 395 1539
rect 433 1505 467 1539
rect 505 1505 539 1539
rect 577 1505 611 1539
rect 721 1505 755 1539
rect 793 1505 827 1539
rect 865 1505 899 1539
rect 937 1505 971 1539
rect 1027 1505 1061 1539
rect 1099 1505 1133 1539
rect 1171 1505 1205 1539
rect 1243 1505 1277 1539
rect 1387 1505 1421 1539
rect 1459 1505 1493 1539
rect 1531 1505 1565 1539
rect 1603 1505 1637 1539
rect 1693 1505 1727 1539
rect 1765 1505 1799 1539
rect 1837 1505 1871 1539
rect 1909 1505 1943 1539
rect 405 1071 439 1105
rect 805 1071 839 1105
rect 1069 1071 1103 1105
rect 131 970 165 979
rect 131 945 165 970
rect 1473 1071 1507 1105
rect 353 871 387 905
rect 871 970 905 979
rect 871 945 905 970
rect 1167 427 1201 461
rect 413 247 447 281
rect 1463 427 1497 461
rect 1685 871 1719 905
rect 1833 797 1867 831
rect 1079 247 1113 281
rect 1745 247 1779 281
rect 55 13 89 47
rect 127 13 161 47
rect 199 13 233 47
rect 271 13 305 47
rect 361 13 395 47
rect 433 13 467 47
rect 505 13 539 47
rect 577 13 611 47
rect 721 13 755 47
rect 793 13 827 47
rect 865 13 899 47
rect 937 13 971 47
rect 1027 13 1061 47
rect 1099 13 1133 47
rect 1171 13 1205 47
rect 1243 13 1277 47
rect 1387 13 1421 47
rect 1459 13 1493 47
rect 1531 13 1565 47
rect 1603 13 1637 47
rect 1693 13 1727 47
rect 1765 13 1799 47
rect 1837 13 1871 47
rect 1909 13 1943 47
<< metal1 >>
rect -31 1539 2029 1554
rect -31 1505 55 1539
rect 89 1505 127 1539
rect 161 1505 199 1539
rect 233 1505 271 1539
rect 305 1505 361 1539
rect 395 1505 433 1539
rect 467 1505 505 1539
rect 539 1505 577 1539
rect 611 1505 721 1539
rect 755 1505 793 1539
rect 827 1505 865 1539
rect 899 1505 937 1539
rect 971 1505 1027 1539
rect 1061 1505 1099 1539
rect 1133 1505 1171 1539
rect 1205 1505 1243 1539
rect 1277 1505 1387 1539
rect 1421 1505 1459 1539
rect 1493 1505 1531 1539
rect 1565 1505 1603 1539
rect 1637 1505 1693 1539
rect 1727 1505 1765 1539
rect 1799 1505 1837 1539
rect 1871 1505 1909 1539
rect 1943 1505 2029 1539
rect -31 1492 2029 1505
rect 399 1105 445 1111
rect 799 1105 845 1111
rect 1063 1105 1109 1111
rect 1467 1105 1513 1111
rect 393 1071 405 1105
rect 439 1071 805 1105
rect 839 1071 851 1105
rect 1057 1071 1069 1105
rect 1103 1071 1473 1105
rect 1507 1071 1519 1105
rect 399 1065 445 1071
rect 799 1065 845 1071
rect 1063 1065 1109 1071
rect 1467 1065 1513 1071
rect 125 979 171 985
rect 865 979 911 985
rect 119 945 131 979
rect 165 945 871 979
rect 905 945 917 979
rect 125 939 171 945
rect 865 939 911 945
rect 347 905 393 911
rect 1679 905 1725 911
rect 341 871 353 905
rect 387 871 1685 905
rect 1719 871 1731 905
rect 347 865 393 871
rect 1679 865 1725 871
rect 1827 831 1873 837
rect 1821 797 1833 831
rect 1867 797 1903 831
rect 1827 791 1873 797
rect 1161 461 1207 467
rect 1457 461 1503 467
rect 1155 427 1167 461
rect 1201 427 1463 461
rect 1497 427 1509 461
rect 1161 421 1207 427
rect 1457 421 1503 427
rect 407 281 453 287
rect 1073 281 1119 287
rect 1739 281 1785 287
rect 401 247 413 281
rect 447 247 1079 281
rect 1113 247 1745 281
rect 1779 247 1791 281
rect 407 241 453 247
rect 1073 241 1119 247
rect 1739 241 1785 247
rect -31 47 2029 62
rect -31 13 55 47
rect 89 13 127 47
rect 161 13 199 47
rect 233 13 271 47
rect 305 13 361 47
rect 395 13 433 47
rect 467 13 505 47
rect 539 13 577 47
rect 611 13 721 47
rect 755 13 793 47
rect 827 13 865 47
rect 899 13 937 47
rect 971 13 1027 47
rect 1061 13 1099 47
rect 1133 13 1171 47
rect 1205 13 1243 47
rect 1277 13 1387 47
rect 1421 13 1459 47
rect 1493 13 1531 47
rect 1565 13 1603 47
rect 1637 13 1693 47
rect 1727 13 1765 47
rect 1799 13 1837 47
rect 1871 13 1909 47
rect 1943 13 2029 47
rect -31 0 2029 13
<< labels >>
rlabel metal1 1833 797 1867 831 1 YN
port 1 n
rlabel metal1 353 871 387 905 1 A
port 2 n
rlabel metal1 131 945 165 979 1 B
port 3 n
rlabel metal1 1167 427 1201 461 1 C
port 4 n
rlabel metal1 -31 1492 2029 1554 1 VDD
port 5 n
rlabel metal1 -31 0 2029 62 1 GND
port 6 n
<< end >>
